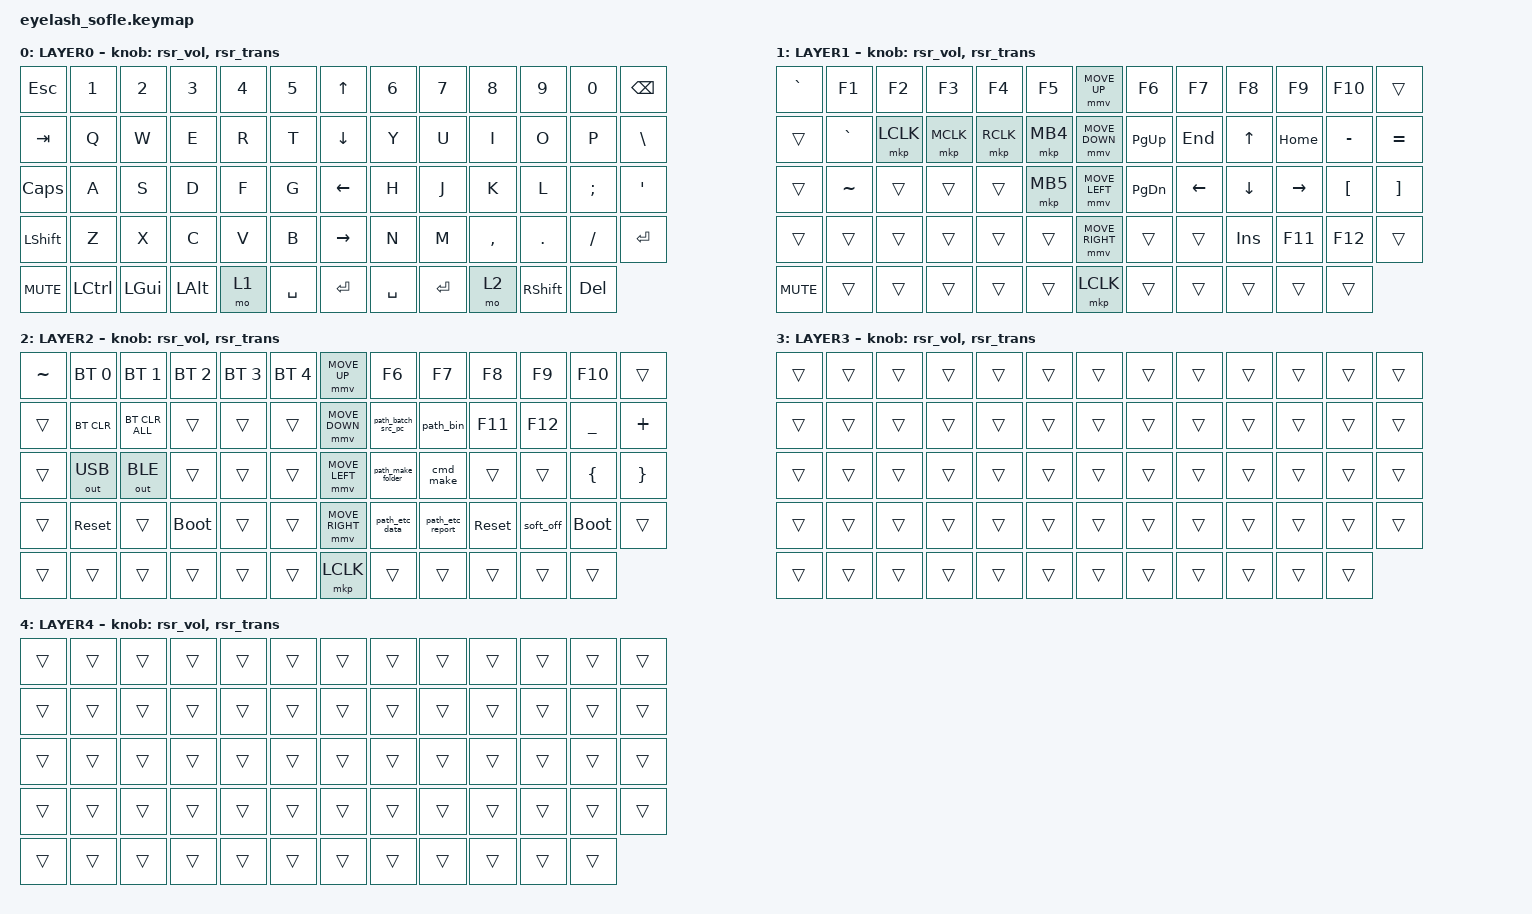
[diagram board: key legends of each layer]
#define ZMK_POINTING_DEFAULT_MOVE_VAL 1200  // 600
#define ZMK_POINTING_DEFAULT_SCRL_VAL 25   // 10

#include <input/processors.dtsi>
#include <zephyr/dt-bindings/input/input-event-codes.h>
#include <behaviors/runtime-sensor-rotate.dtsi>
#include <behaviors.dtsi>
#include <dt-bindings/zmk/bt.h>
#include <dt-bindings/zmk/keys.h>
#include <dt-bindings/zmk/outputs.h>
#include <dt-bindings/zmk/pointing.h>

&mmv_input_listener { input-processors = <&zip_xy_scaler 2 1>; };

&msc_input_listener { input-processors = <&zip_scroll_scaler 2 1>; };

&msc {
    acceleration-exponent = <1>;      // 0
    time-to-max-speed-ms = <100>;       // 300
    delay-ms = <0>;                   // 0
};

&mmv {
    time-to-max-speed-ms = <500>;
    acceleration-exponent = <1>;
    trigger-period-ms = <16>;
};

&soft_off { hold-time-ms = <2000>; };

/ {
    scroll_encoder: scroll_encoder {
        compatible = "zmk,behavior-sensor-rotate";
        #sensor-binding-cells = <0>;
        bindings = <&msc SCRL_DOWN>, <&msc SCRL_UP>;

        tap-ms = <100>;
    };

    behaviors {
        rsr_vol: rsr_vol {
            compatible = "zmk,behavior-runtime-sensor-rotate";
            #sensor-binding-cells = <0>;
            tap-ms = <5>;
            cw-binding = <&kp C_VOL_UP>;
            ccw-binding = <&kp C_VOL_DN>;
        };

        rsr_trans: rsr_trans {
            compatible = "zmk,behavior-runtime-sensor-rotate";
            #sensor-binding-cells = <0>;
            tap-ms = <0>;
        };

        hold_tap: hold_tap {
            compatible = "zmk,behavior-hold-tap";
            label = "HOLD_TAP";
            bindings = <&kp>, <&kp>;

            #binding-cells = <2>;
            quick-tap-ms = <175>;
            tapping-term-ms = <200>;
            flavor = "tap-preferred";
            hold-while-undecided;
        };
    };

    combos {
        compatible = "zmk,combos";

        softoff {
            bindings = <&soft_off>;
            key-positions = <28 40 14>;
        };
    };

    macros {
        SHIFT_MCLK: SHIFT_MCLK {
            compatible = "zmk,behavior-macro";
            #binding-cells = <0>;
            bindings =
                <&macro_press>,
                <&kp LEFT_SHIFT>,
                <&macro_press>,
                <&mkp MB3>,
                <&macro_pause_for_release>,
                <&macro_release>,
                <&kp LEFT_SHIFT &mkp MB3>;

            label = "SHIFT_MCLK";
        };

        path_batch_src_pc: path_batch_src_pc {
            compatible = "zmk,behavior-macro";
            #binding-cells = <0>;
            bindings = <&kp C &kp D &kp SPACE &kp FSLH &kp LS(A) &kp P &kp P &kp L &kp FSLH &kp S &kp R &kp C &kp FSLH &kp B &kp A &kp T &kp C &kp H &kp FSLH &kp P &kp C &kp FSLH>;
            label = "PATH_BATCH_SRC_PC";
        };

        path_make_folder: path_make_folder {
            compatible = "zmk,behavior-macro";
            #binding-cells = <0>;
            bindings = <&kp C &kp D &kp SPACE &kp FSLH &kp LS(A) &kp P &kp P &kp L &kp FSLH &kp M &kp A &kp K &kp E &kp FSLH &kp B &kp A &kp T &kp C &kp H>;
            label = "PATH_MAKE_FOLDER";
        };

        cmd_make: cmd_make {
            compatible = "zmk,behavior-macro";
            #binding-cells = <0>;
            bindings = <&kp M &kp A &kp K &kp E &kp SPACE &kp MINUS &kp F &kp SPACE &kp M &kp A &kp K &kp E &kp DOT &kp SPACE &kp A &kp L &kp L>;
            label = "CMD_MAKE";
        };

        path_bin: path_bin {
            compatible = "zmk,behavior-macro";
            #binding-cells = <0>;
            bindings = <&kp C &kp D &kp SPACE &kp FSLH &kp LS(A) &kp P &kp P &kp L &kp FSLH &kp B &kp I &kp N>;
            label = "PATH_BIN";
        };

        path_etc_data: path_etc_data {
            compatible = "zmk,behavior-macro";
            #binding-cells = <0>;
            bindings = <&kp FSLH &kp LS(A) &kp P &kp P &kp L &kp FSLH &kp E &kp T &kp C &kp FSLH &kp D &kp A &kp T &kp A>;
            label = "PATH_ETC_DATA";
        };

        path_etc_report: path_report {
            compatible = "zmk,behavior-macro";
            #binding-cells = <0>;
            bindings = <&kp FSLH &kp LS(A) &kp P &kp P &kp L &kp FSLH &kp E &kp T &kp C &kp FSLH &kp R &kp E &kp P &kp O &kp R &kp T>;
            label = "PATH_REPORT";
        };
    };

    keymap {
        compatible = "zmk,keymap";

        layer0 {
            bindings = <
&kp ESC     &kp N1     &kp N2        &kp N3        &kp N4  &kp N5       &kp UP_ARROW     &kp N6     &kp N7     &kp N8     &kp N9           &kp N0      &kp BACKSPACE
&kp TAB     &kp Q      &kp W         &kp E         &kp R   &kp T        &kp DOWN_ARROW   &kp Y      &kp U      &kp I      &kp O            &kp P       &kp BSLH
&kp CAPS    &kp A      &kp S         &kp D         &kp F   &kp G        &kp LEFT_ARROW   &kp H      &kp J      &kp K      &kp L            &kp SEMI    &kp APOS
&kp LSHFT   &kp Z      &kp X         &kp C         &kp V   &kp B        &kp RIGHT_ARROW  &kp N      &kp M      &kp COMMA  &kp DOT          &kp FSLH    &kp ENTER
&kp C_MUTE  &kp LCTRL  &kp LEFT_GUI  &kp LEFT_ALT  &mo 1   &kp SPACE    &kp ENTER        &kp SPACE  &kp ENTER  &mo 2      &kp RIGHT_SHIFT  &kp DELETE
            >;

            sensor-bindings = <&rsr_vol &rsr_trans>;
            display-name = "LAYER0";
        };

        layer_1 {
            bindings = <
&kp GRAVE   &kp F1     &kp F2     &kp F3     &kp F4     &kp F5      &mmv MOVE_UP     &kp F6     &kp F7    &kp F8      &kp F9     &kp F10           &trans
&trans      &kp GRAVE  &mkp LCLK  &mkp MCLK  &mkp RCLK  &mkp MB4    &mmv MOVE_DOWN   &kp PG_UP  &kp END   &kp UP      &kp HOME   &kp MINUS         &kp EQUAL
&trans      &kp TILDE  &trans     &trans     &trans     &mkp MB5    &mmv MOVE_LEFT   &kp PG_DN  &kp LEFT  &kp DOWN    &kp RIGHT  &kp LEFT_BRACKET  &kp RIGHT_BRACKET
&trans      &trans     &trans     &trans     &trans     &trans      &mmv MOVE_RIGHT  &trans     &trans    &kp INSERT  &kp F11    &kp F12           &trans
&kp C_MUTE  &trans     &trans     &trans     &trans     &trans      &mkp LCLK        &trans     &trans    &trans      &trans     &trans
            >;

            sensor-bindings = <&rsr_vol &rsr_trans>;
            display-name = "LAYER1";
        };

        layer_2 {
            bindings = <
&kp TILDE  &bt BT_SEL 0  &bt BT_SEL 1    &bt BT_SEL 2  &bt BT_SEL 3  &bt BT_SEL 4    &mmv MOVE_UP     &kp F6              &kp F7            &kp F8      &kp F9     &kp F10      &trans
&trans     &bt BT_CLR    &bt BT_CLR_ALL  &trans        &trans        &trans          &mmv MOVE_DOWN   &path_batch_src_pc  &path_bin         &kp F11     &kp F12    &kp UNDER    &kp PLUS
&trans     &out OUT_USB  &out OUT_BLE    &trans        &trans        &trans          &mmv MOVE_LEFT   &path_make_folder   &cmd_make         &trans      &trans     &kp LBRC     &kp RBRC
&trans     &sys_reset    &trans          &bootloader   &trans        &trans          &mmv MOVE_RIGHT  &path_etc_data      &path_etc_report  &sys_reset  &soft_off  &bootloader  &trans
&trans     &trans        &trans          &trans        &trans        &trans          &mkp LCLK        &trans              &trans            &trans      &trans     &trans
            >;

            display-name = "LAYER2";
            sensor-bindings = <&rsr_vol &rsr_trans>;
        };

        layer_3 {
            bindings = <
&trans  &trans  &trans  &trans  &trans  &trans    &trans  &trans  &trans  &trans  &trans  &trans  &trans
&trans  &trans  &trans  &trans  &trans  &trans    &trans  &trans  &trans  &trans  &trans  &trans  &trans
&trans  &trans  &trans  &trans  &trans  &trans    &trans  &trans  &trans  &trans  &trans  &trans  &trans
&trans  &trans  &trans  &trans  &trans  &trans    &trans  &trans  &trans  &trans  &trans  &trans  &trans
&trans  &trans  &trans  &trans  &trans  &trans    &trans  &trans  &trans  &trans  &trans  &trans
            >;

            display-name = "LAYER3";
            sensor-bindings = <&rsr_vol &rsr_trans>;
        };

        layer_4 {
            bindings = <
&trans  &trans  &trans  &trans  &trans  &trans    &trans  &trans  &trans  &trans  &trans  &trans  &trans
&trans  &trans  &trans  &trans  &trans  &trans    &trans  &trans  &trans  &trans  &trans  &trans  &trans
&trans  &trans  &trans  &trans  &trans  &trans    &trans  &trans  &trans  &trans  &trans  &trans  &trans
&trans  &trans  &trans  &trans  &trans  &trans    &trans  &trans  &trans  &trans  &trans  &trans  &trans
&trans  &trans  &trans  &trans  &trans  &trans    &trans  &trans  &trans  &trans  &trans  &trans
            >;

            display-name = "LAYER4";
            sensor-bindings = <&rsr_vol &rsr_trans>;
        };
    };
};
